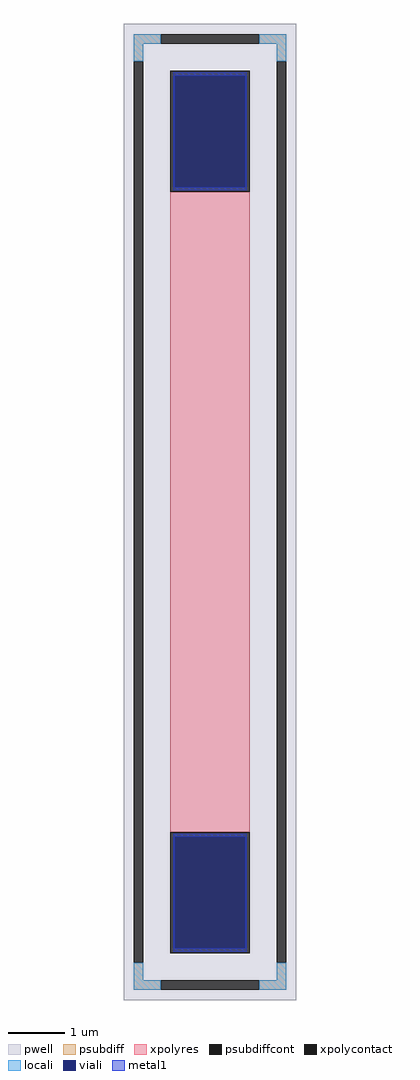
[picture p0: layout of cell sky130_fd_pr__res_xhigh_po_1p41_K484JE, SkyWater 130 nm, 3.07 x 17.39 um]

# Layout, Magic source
magic
tech sky130A
magscale 1 2
<< pwell >>
rect -307 -1739 307 1739
<< psubdiff >>
rect -271 1669 -175 1703
rect 175 1669 271 1703
rect -271 1607 -237 1669
rect 237 1607 271 1669
rect -271 -1669 -237 -1607
rect 237 -1669 271 -1607
rect -271 -1703 -175 -1669
rect 175 -1703 271 -1669
<< psubdiffcont >>
rect -175 1669 175 1703
rect -271 -1607 -237 1607
rect 237 -1607 271 1607
rect -175 -1703 175 -1669
<< xpolycontact >>
rect -141 1141 141 1573
rect -141 -1573 141 -1141
<< xpolyres >>
rect -141 -1141 141 1141
<< locali >>
rect -271 1669 -175 1703
rect 175 1669 271 1703
rect -271 1607 -237 1669
rect 237 1607 271 1669
rect -271 -1669 -237 -1607
rect 237 -1669 271 -1607
rect -271 -1703 -175 -1669
rect 175 -1703 271 -1669
<< viali >>
rect -125 1158 125 1555
rect -125 -1555 125 -1158
<< metal1 >>
rect -131 1555 131 1567
rect -131 1158 -125 1555
rect 125 1158 131 1555
rect -131 1146 131 1158
rect -131 -1158 131 -1146
rect -131 -1555 -125 -1158
rect 125 -1555 131 -1158
rect -131 -1567 131 -1555
<< properties >>
string FIXED_BBOX -254 -1686 254 1686
string gencell sky130_fd_pr__res_xhigh_po_1p41
string library sky130
string parameters w 1.410 l 11.574 m 1 nx 1 wmin 1.410 lmin 0.50 rho 2000 val 16.683k dummy 0 dw 0.0 term 188.2 sterm 0.0 caplen 0 wmax 1.410 guard 1 glc 1 grc 1 gtc 1 gbc 1 compatible {sky130_fd_pr__res_xhigh_po_0p35  sky130_fd_pr__res_xhigh_po_0p69 sky130_fd_pr__res_xhigh_po_1p41  sky130_fd_pr__res_xhigh_po_2p85 sky130_fd_pr__res_xhigh_po_5p73} snake 0 full_metal 1 n_guard 0 hv_guard 0 vias 1 viagb 0 viagt 0 viagl 0 viagr 0
<< end >>
